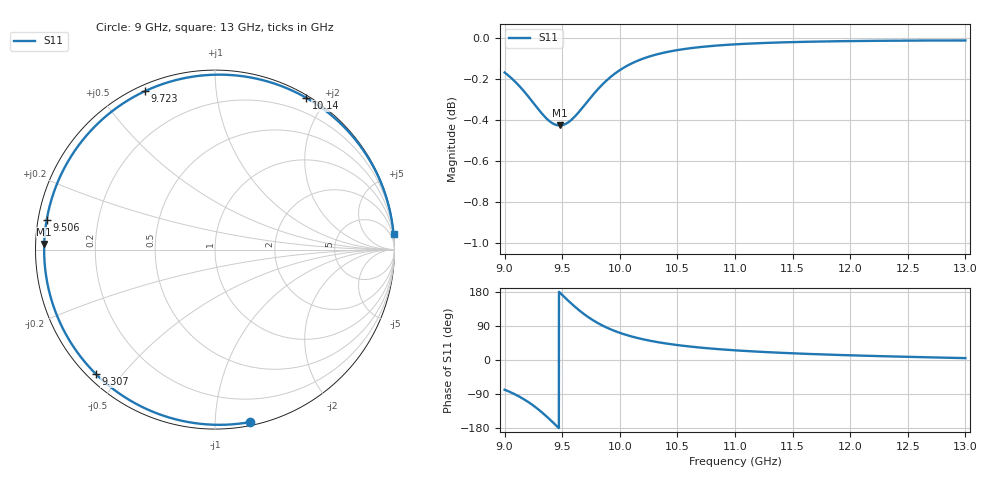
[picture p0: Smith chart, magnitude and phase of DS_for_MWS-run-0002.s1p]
! TOUCHSTONE file generated by CST DESIGN STUDIO
! Date and time: Tue Feb  4 17:56:24 2025
! Project name: C:\Work\MatlabApps\UnitCellOptimizationMatlab\CST\unitcell.cst
! Tree item: Tasks\Sweep1\SPara1\S-Parameters
! Header version: 2024
! Port assignment regex: !\s*Touchstone port\s*([0-9]+)\s*=\s*(CST MWS port|CST DES external port|CST DES block port)\s*(.+)\s* \(\"(.*)\"\)(\s*mode\s*([0-9]+))?.*
! Touchstone port assignment:
! Touchstone port 1 = CST DES external port 1 ("")
# GHz S MA R 50
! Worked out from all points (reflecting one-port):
!   4001 points, 9 GHz to 13 GHz, reference 50 ohm
!   lowest |S11| = -0.4 dB at 9.478 GHz (marker M1), VSWR 40.70, Z = 1.23 + j0.806 ohm
!   phase of S11 starts at -78 deg and turns -277 deg over the sweep
!   S11 on the Smith chart (normalised r, x): 9 GHz: 0.02, -1.23; 9.307 GHz: 0.02, -0.43; 9.506 GHz: 0.02, +0.09; 9.723 GHz: 0.03, +0.65; 10.14 GHz: 0.03, +1.77; 13 GHz: 0, +23
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9  0.9807 -78.4
9.076  0.9766 -88.5
9.174  0.97 -104.8
9.243  0.9646 -118.8
9.307  0.9596 -133.9
9.352  0.9565 -145.6
9.4  0.9538 -159.0
9.44  0.9525 -170.6
9.478  0.952 178.2
9.5  0.9522 171.7
9.506  0.9523 169.9
9.558  0.9539 154.9
9.618  0.9573 138.5
9.67  0.9611 125.6
9.723  0.9652 113.8
9.778  0.9693 103.0
9.84  0.9735 92.4
9.919  0.9781 81.1
10  0.9819 71.7
10.142  0.9868 58.9
10.304  0.9904 48.4
10.5  0.993 39.4
10.722  0.9949 32.1
11  0.9962 25.5
11.5  0.9975 17.7
12  0.9981 12.4
12.5  0.9983 8.3
13  0.9984 5.0
